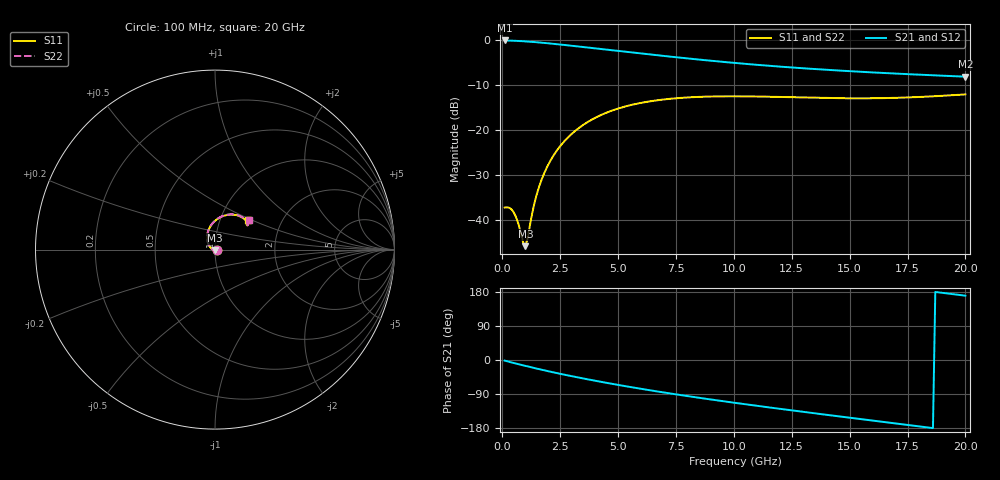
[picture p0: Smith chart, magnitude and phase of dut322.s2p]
! Touchstone file exported from HFSS 2024.1.0
!  File:  C:/UserFiles/LocalFiles/RDL_TSV_Batchsim/temp_RDL_TSV_322_1779629943.aedt
!  Generated:  09:52:15 PM May 24, 2026
!  Design:  RDL_TSV
!  Project:  temp_RDL_TSV_322_1779629943
!  Setup:  Setup1
!  Solution:  Sweep
! Variables:
!  dtsv = 8.4um
!  hbump = 3um
!  htsv = 83.76um
!  ldown = 578.22um
!  lrdl = 222.86um
!  p = 40
!  p1 = 43.06um
!  rhole = 10um
!  subl = 2626.1um
!  t = 450um
!  tdown = 3.24um
!  trdl = 3.52um
!  viad = 10um
!  wdown = 26.91um
!  wrdl = 16.39um
!  xbump = 18um
# GHz S MA R 50.000000
! Terminal data exported
! Port[1] = TM1_1_T1
! Port[2] = TM1_4_T1
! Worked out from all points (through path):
!   200 points, 100 MHz to 20 GHz, reference 50 ohm
!   highest |S21| = -0.12 dB at 100 MHz (marker M1); lowest = -8.2 dB at 20 GHz (marker M2)
!   group delay of S21, straight-line fit = 25.1 ps
!   lowest |S11| = -45.9 dB at 1 GHz (marker M3), VSWR 1.01, Z = 49.8 - j0.473 ohm
!   |S11| at or under -10 dB: start of sweep to end of sweep
!   |S22| runs from -45.9 to -12.1 dB; largest |S21 - S12| = 1.4e-14
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0.1  0.01362 -1.2  0.9859 -1.6  0.9859 -1.6  0.01362 -1.2
! Gamma 0 0 0 0
! Port Impedance 50 0 50 0
0.3  0.01356 -7.7  0.9828 -4.8  0.9828 -4.8  0.01356 -7.7
0.5  0.01195 -19.4  0.9783 -8.0  0.9783 -8.0  0.01195 -19.4
0.7  0.008885 -37.2  0.9729 -11.0  0.9729 -11.0  0.008874 -37.3
0.9  0.005554 -75.1  0.9664 -14.1  0.9664 -14.1  0.005549 -75.4
1  0.005065 -110.4  0.9627 -15.6  0.9627 -15.6  0.00508 -110.8
1.1  0.006308 -144.1  0.9588 -17.1  0.9588 -17.1  0.006347 -144.4
1.3  0.01205 -178.6  0.9503 -20.0  0.9503 -20.0  0.01212 -178.7
1.5  0.01956 165.7  0.941 -22.9  0.941 -22.9  0.01965 165.7
1.7  0.02795 155.6  0.9312 -25.7  0.9312 -25.7  0.02807 155.7
1.9  0.03692 147.8  0.9209 -28.5  0.9209 -28.5  0.03707 147.9
2.2  0.05109 138.3  0.9048 -32.5  0.9048 -32.5  0.05129 138.4
2.6  0.0706 127.7  0.8829 -37.7  0.8829 -37.7  0.07088 127.8
3.5  0.1136 108.6  0.8332 -48.8  0.8332 -48.8  0.114 108.7
4.2  0.1434 96.6  0.7957 -56.9  0.7957 -56.9  0.1441 96.8
4.9  0.1688 86.4  0.7595 -64.7  0.7595 -64.7  0.1696 86.5
6.8  0.2147 65.3  0.6704 -84.1  0.6704 -84.1  0.2159 65.4
8.4  0.2318 53.0  0.6073 -98.9  0.6073 -98.9  0.2333 53.1
10.1  0.2358 44.2  0.5524 -113.5  0.5524 -113.5  0.2376 44.3
13.4  0.2271 36.9  0.4756 -139.9  0.4756 -139.9  0.2291 36.9
16.7  0.2257 38.5  0.4255 -165.3  0.4255 -165.3  0.2276 38.3
20  0.2475 41.6  0.39 169.7  0.39 169.7  0.249 41.3
